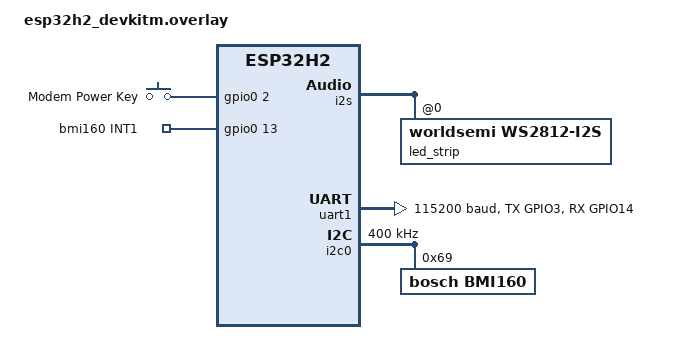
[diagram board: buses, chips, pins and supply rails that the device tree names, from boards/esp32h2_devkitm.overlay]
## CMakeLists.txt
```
cmake_minimum_required(VERSION 3.20.0)

find_package(Zephyr REQUIRED HINTS $ENV{ZEPHYR_BASE})

project(esp32_tracker)

target_sources(app PRIVATE src/main.c)
```

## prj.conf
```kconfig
CONFIG_GPIO=y
CONFIG_LOG=y
CONFIG_BT=n

CONFIG_LED_STRIP=y
CONFIG_I2S=y
CONFIG_DMA=y
CONFIG_WS2812_STRIP_I2S=y

CONFIG_SERIAL=y
CONFIG_UART_INTERRUPT_DRIVEN=y
CONFIG_CBPRINTF_FP_SUPPORT=y

CONFIG_I2C=y
CONFIG_SENSOR=y
CONFIG_BMI160=y

CONFIG_PM=y
CONFIG_PM_DEVICE=y
```

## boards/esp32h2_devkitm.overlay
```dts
#include <zephyr/dt-bindings/led/led.h>

/ {
	aliases {
		led-strip = &led_strip;
		modem-uart = &uart1;
		modem-pwr = &modem_pwr_key;
		wakeup-pin = &pin0;
	};

	gpio_keys {
		compatible = "gpio-keys";
		modem_pwr_key: modem_pwr_key {
			gpios = <&gpio0 2 GPIO_ACTIVE_HIGH>;
			label = "Modem Power Key";
		};
	};

	buttons {
		compatible = "gpio-keys";
		pin0: pin0 {
			gpios = <&gpio0 13 (GPIO_PULL_DOWN | GPIO_ACTIVE_HIGH)>;
			label = "bmi160 INT1";
		};
	};
};

// LED

&i2s_default {
	group1 {
		pinmux = <I2S_O_SD_GPIO8>;
	};
};

i2s_led: &i2s {
	status = "okay";

	dmas = <&dma 3>;
	dma-names = "tx";

	led_strip: ws2812@0 {
		compatible = "worldsemi,ws2812-i2s";

		reg = <0>;
		chain-length = <1>;
		color-mapping = <LED_COLOR_ID_GREEN
				 LED_COLOR_ID_RED
				 LED_COLOR_ID_BLUE>;
		reset-delay = <500>;
	};
};

&dma {
	status = "okay";
};

// SIM7070 UART

&pinctrl {
	uart1_modem_default: uart1_modem_default {
		group1 {
			pinmux = <UART1_TX_GPIO3>,
				     <UART1_RX_GPIO14>;
			output-high;
			input-enable;
		};
	};

    my_i2c0_custom: my_i2c0_custom {
        group1 {
            pinmux = <ESP32_PINMUX(5, ESP_I2CEXT0_SDA_IN, ESP_I2CEXT0_SDA_OUT)>,
	             <ESP32_PINMUX(4, ESP_I2CEXT0_SCL_IN, ESP_I2CEXT0_SCL_OUT)>;
        
            bias-pull-up;
            drive-open-drain;
            output-high;
        };
    };
};

&uart1 {
	status = "okay";
	current-speed = <115200>; // SIM7070 baud rate
	pinctrl-0 = <&uart1_modem_default>;
	pinctrl-names = "default";
};

&i2c0 {
    status = "okay";
    clock-frequency = <I2C_BITRATE_FAST>;

    pinctrl-0 = <&my_i2c0_custom>;
    pinctrl-names = "default";

    my_bmi160: bmi160@69 {
        compatible = "bosch,bmi160";
        reg = <0x69>;
        status = "okay";
        label = "BMI160";
    };
};
```

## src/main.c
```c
#include <math.h>
#include <stdint.h>
#include <stdio.h>
#include <stdlib.h>
#include <zephyr/kernel.h>
#include <zephyr/drivers/led_strip.h>
#include <zephyr/device.h>
#include <zephyr/logging/log.h>
#include <zephyr/drivers/gpio.h>
#include <zephyr/drivers/uart.h>
#include <zephyr/sys/timeutil.h>
#include <zephyr/sys/printk.h>
#include <zephyr/drivers/sensor.h>
#include <zephyr/drivers/i2c.h>
#include <string.h>
#include <esp_sleep.h>
#include <esp_timer.h>
#include <driver/gpio.h>
#include <zephyr/pm/policy.h>

LOG_MODULE_REGISTER(main, LOG_LEVEL_INF);

static const struct gpio_dt_spec wakeup_pin = GPIO_DT_SPEC_GET(DT_ALIAS(wakeup_pin), gpios);
#define WAKEUP_TIME_SEC     60

const struct gpio_dt_spec modem_pwr = GPIO_DT_SPEC_GET(DT_ALIAS(modem_pwr), gpios);
const struct device *modem_uart = DEVICE_DT_GET(DT_ALIAS(modem_uart));

#define BMI160_REG_INT_MAP_0  0x55
#define BMI160_REG_INT_OUT_CTRL  0x53

static const struct i2c_dt_spec dev_i2c = I2C_DT_SPEC_GET(DT_NODELABEL(my_bmi160));

#define RX_BUFFER_SIZE 256
static char rx_buf[RX_BUFFER_SIZE];
static int rx_pos = 0;

#define MODEM_RESPONSE_WAIT_MS  500
#define GPS_POLLING_WAIT_MS  5000
#define GPS_RESPONSE_WAIT_MS  500
#define GPS_POLLING_MAX_NODATE_MS  (60 * 1000)
#define GPS_POLLING_MAX_DATE_MS  (8 * 60 * 1000)

const char *at_command_list[] = {
		// Disable echo
    "ATE0",
    // Enable error messages
		"AT+CMEE=2",
    // Query SW version
    "AT+CGMR",
    "ATI",
};


const char *nbiot_command_list[] = {
    // --- NB-IoT setup
    // Set preferred mode to AUTOMATIC
    "AT+CNMP=2",
    // Enable CAT-M and NB-IoT scanning
    "AT+CMNB=3",
    // Set APN
    "AT+CGDCONT=1,\"IP\",\"iot\"", 
};

const char *connect_command_list[] = {
    // Check connection
    // "AT+CPSI?",
    // "AT+CREG?",  // 2G Registration
    // "AT+CGREG?", // LTE Registration
    // "AT+COPS?",  // ISP
    // "AT+CPSI?",  // System info
};

const char *http_command_list[] = {
		// --- HTTP setup
		// Configure SSL
		"AT+CSSLCFG=\"sslversion\",1,3",
		"AT+CSSLCFG=\"sni\",1,\"gps.dawidpietrykowski.com\"",
		"AT+CSSLCFG=\"ignorertctime\",1,1",
		"AT+SHSSL=1,\"\"",

		// Configure URL
		"AT+SHCONF=\"URL\",https://gps.dawidpietrykowski.com",
		"AT+SHCONF=\"HEADERLEN\",349",
		"AT+SHCONF=\"BODYLEN\",500",
};

void uart_cb(const struct device *dev, void *user_data)
{
	uint8_t c;

	if (!uart_irq_update(dev)) {
		return;
	}

	if (uart_irq_rx_ready(dev)) {
		while (uart_fifo_read(dev, &c, 1) == 1) {
			// printk("RECEIVED: %d\n", c);

			if (rx_pos < sizeof(rx_buf) - 1) {
				rx_buf[rx_pos++] = c;
				rx_buf[rx_pos] = '\0';
			}
		}
	}
}

void clear_buf()
{
	unsigned int key = irq_lock();
	rx_buf[0] = '\0';
	rx_pos=0;
  irq_unlock(key);
}

void send_at_cmd(const char *cmd)
{
	printk("\n\n>>> SENDING: %s\n", cmd);
	
	clear_buf();
	uart_poll_out(modem_uart, '\r');
	uart_poll_out(modem_uart, '\n');
	for (int i = 0; i < strlen(cmd); i++) {
		uart_poll_out(modem_uart, cmd[i]);
	}
	uart_poll_out(modem_uart, '\r');
	uart_poll_out(modem_uart, '\n');
}

int poll_at(uint32_t max_ms)
{
	char* search = "OK";
	uint32_t wait_time = 0;
	for(;;)
	{
		send_at_cmd("AT");
		k_msleep(200);
		if(strstr(rx_buf, search) != NULL)
			return 0;
		wait_time += 200;
		if(wait_time > max_ms) {
			return -1;
		}
	}
}

void poll_ready()
{
	char* search = "SMS Ready";
	for(;;)
	{
		k_msleep(100);
		if(strstr(rx_buf, search) != NULL)
			break;
	}
}

int poll_signal()
{
	char* search = "CSQ:";
	for(;;)
	{
		send_at_cmd("AT+CSQ");
		k_msleep(500);
		char* pos = strstr(rx_buf, search);
		if (pos == NULL) {
			continue;
		}
		// CSQ: xx,xx
		// 0123456789
		*(pos+7) = '\0';
		printk("\n\nreceived signal %s\n", pos);
		if(strstr(pos, "99") == NULL)
		{
			int signal = atoi(pos + 5);
			printk("\n\nfound signal %d\n", signal);
			return signal;
		}
	}
}

int poll_ip()
{
	char* search = "CNACT: 0,1,";
	for(;;)
	{
		send_at_cmd("AT+CNACT?");
		k_msleep(500);
		char* pos = strstr(rx_buf, search);
		char* next_ip_pos = strstr(rx_buf, "CNACT: 1,0");
		*(next_ip_pos - 1) = '\0';
		if (pos == NULL || next_ip_pos == NULL) {
			continue;
		}
		printk("\nreceived IP %s\n", pos + strlen(search));
		if(strstr(pos + strlen(search), "0.0.0.0") == NULL)
		{
			printk("\n\nreceived valid IP\n");
			return 0;
		}
	}
}

int poll_request(uint32_t max_ms)
{
	char* search = "SHREQ:";
	uint32_t wait_time = 0;
	for(;;)
	{
		k_msleep(100);
		printk("waiting for request finish\n");
		if(strstr(rx_buf, search) != NULL)
		{
			printk("\n\nfinished request\n");
			return 0;
		}
		wait_time += 100;
		if(wait_time > max_ms) {
			return -1;
		}
	}
}

int poll_ok(uint32_t max_ms)
{
	char* search = "OK";
	uint32_t wait_time = 0;
	for(;;)
	{
		k_msleep(100);
		if(strstr(rx_buf, search) != NULL)
			return 0;
		wait_time += 100;
		if(wait_time > max_ms) {
			return -1;
		}
	}
}

void poll_shbod()
{
	char* search = ">";
	for(;;)
	{
		printk("\n\nwaiting for shbod ok, buffer: \n");
		for (int i = 0; i <= rx_pos; i++) {
			printk("buf[%d] = %d\n", i, rx_buf[i]);
		}
		if(strstr(rx_buf, search) != NULL)
			break;
		k_msleep(500);
	}
}

typedef struct {
  double latitude;
  double longitude;
  double signal;
  double battery;
  uint64_t timestamp;
} frame;

int send_frame(frame frame_to_send) {
	char shbod[100];
	clear_buf();
	k_msleep(100);
	sprintf(shbod, "AT+SHBOD=%d,%d\r", (int)sizeof(frame), 1000);
	printk(">>> SENDING: %s\n", shbod);

	uart_poll_out(modem_uart, '\r');
	uart_poll_out(modem_uart, '\n');
	for (int i = 0; i < strlen(shbod); i++) {
		uart_poll_out(modem_uart, shbod[i]);
	}
	// TODO: fix rx_buf not receiving '>' character
	// poll_shbod();
	k_msleep(100);
	clear_buf();
	for (int i = 0; i < sizeof(frame_to_send); i++) {
		uart_poll_out(modem_uart, ((char*)&frame_to_send)[i]);
	}
	uart_poll_out(modem_uart, '\r');
	uart_poll_out(modem_uart, '\n');
	k_msleep(1000);

	send_at_cmd("AT+SHREQ=\"/pos\",3");
	if (poll_request(3000) != 0) {
		return -1;
	}

	return 0;
}

static char *at_token(char **str) {
    char *token_start;
    
    if (str == NULL || *str == NULL || **str == '\0') {
        return NULL;
    }

    token_start = *str;
    
    // first occurrence of the delimiter
    char *token_end = strpbrk(token_start, ",");

    if (token_end) {
        *token_end = '\0';
        *str = token_end + 1;
    } else {
        // no delimiters, point to end
        *str = token_start + strlen(token_start);
    }

    return token_start;
}

int64_t gps_date_to_epoch_ms(const char *ts_str)
{
    struct tm tm_data = { 0 };
    char temp_buf[5];
    int ms = 0;

    if (strlen(ts_str) < 18) {
        printk("Error: Timestamp string too short\n");
        return -1;
    }

    // year
    memcpy(temp_buf, &ts_str[0], 4);
    temp_buf[4] = '\0';
    tm_data.tm_year = atoi(temp_buf) - 1900; 

    // month
    memcpy(temp_buf, &ts_str[4], 2);
    temp_buf[2] = '\0';
    tm_data.tm_mon = atoi(temp_buf) - 1; 

    // day
    memcpy(temp_buf, &ts_str[6], 2);
    temp_buf[2] = '\0';
    tm_data.tm_mday = atoi(temp_buf);

    // hour
    memcpy(temp_buf, &ts_str[8], 2);
    temp_buf[2] = '\0';
    tm_data.tm_hour = atoi(temp_buf);

    // minute
    memcpy(temp_buf, &ts_str[10], 2);
    temp_buf[2] = '\0';
    tm_data.tm_min = atoi(temp_buf);

    // second
    memcpy(temp_buf, &ts_str[12], 2);
    temp_buf[2] = '\0';
    tm_data.tm_sec = atoi(temp_buf);

    // millisecond
    memcpy(temp_buf, &ts_str[15], 3);
    temp_buf[3] = '\0';
    ms = atoi(temp_buf);

    time_t seconds_epoch = timeutil_timegm(&tm_data);

    if (seconds_epoch == -1) {
        printk("Error: Failed to convert time to epoch seconds\n");
        return -1;
    }

    int64_t total_ms = ((int64_t)seconds_epoch * 1000) + ms;

    return total_ms;
}

int get_gps_data(frame *data)
{
  // Enable GPS
	send_at_cmd("AT+CGNSPWR=1");
	char* search = "+CGNSINF: ";
	uint32_t polling_time = 0;
	bool date_received = false;
  data->timestamp = 0;

	for(;;) {
		send_at_cmd("AT+CGNSINF");
		k_msleep(GPS_RESPONSE_WAIT_MS);
		char* pos = strstr(rx_buf, search);
		if(pos != NULL)
		{
			pos += strlen(search);

      int fix_status = 0;
		  char *token;
		  int index = 0;
	    char utc_datetime[32]; // yyyyMMddhhmmss.sss
		  int run_status;

	    while ((token = at_token(&pos)) != NULL) {
	        switch (index) {
	            case 0: // GNSS Run Status
	                run_status = atoi(token);
	                printk("run: %d\n", run_status);
	                break;
	            case 1: // Fix Status
	                if (*token != '\0') fix_status = atoi(token);
	                else fix_status = 0;
	                printk("fix: %d\n", fix_status);
	                break;
	            case 2: // UTC Date & Time
	                if (*token != '\0') {
	                    strncpy(utc_datetime, token, sizeof(utc_datetime) - 1);
											data->timestamp = (uint64_t)gps_date_to_epoch_ms(utc_datetime);
			                printk("date: %s, ms: %lld\n", utc_datetime, data->timestamp);
											date_received = true;
	                }
	                break;
	            case 3: // Latitude
	                if (*token != '\0') {
	                	data->latitude = strtod(token, NULL);
		                printk("latitude: %f\n", data->latitude);
	                }
	                break;
	            case 4: // Longitude
	                if (*token != '\0') {
	                	data->longitude = strtod(token, NULL);
		                printk("longitude: %f\n", data->longitude);
	                }
	                break;
	            case 5: // Altitude
	                if (*token != '\0') {
	                	double altitude = strtod(token, NULL);
		                printk("altitude: %f\n", altitude);
	                }
	                break;
	            default:
	                break;
	        }
	        index++;
	    }
      if (fix_status) {
			  printk("Found GPS position\n");
				send_at_cmd("AT+CGNSPWR=0"); 
				poll_ok(5000);
      	return 0;
      }
		}
		if ((!date_received && (polling_time >= GPS_POLLING_MAX_NODATE_MS))
		    || (date_received && (polling_time >= GPS_POLLING_MAX_DATE_MS))) {
		  printk("Failed to get GPS: timeout\n");
		  data->latitude = NAN;
		  data->longitude = NAN;
			send_at_cmd("AT+CGNSPWR=0"); 
			poll_ok(5000);
		  return -1;
		}
		k_msleep(GPS_POLLING_WAIT_MS);
    polling_time += GPS_POLLING_WAIT_MS + GPS_RESPONSE_WAIT_MS;
	}
}

int configure_bmi160_interrupts()
{
  printk("Initializing BMI160\n");
  const struct device *const bmi160 = DEVICE_DT_GET_ANY(bosch_bmi160);

  if (!device_is_ready(bmi160)) {
      printk("BMI160 is not ready\n");
      return -1;
  }

  if (!i2c_is_ready_dt(&dev_i2c)) {
      printk("I2C bus not ready\n");
      return -1;
  }

  // Enable single-tap interrupt
  if (i2c_reg_write_byte_dt(&dev_i2c, BMI160_REG_INT_MAP_0, 0x20) != 0) {
      printk("Failed to write INT_MAP_0\n");
      return -1;
  }
  // Configure INT1 output
  if (i2c_reg_write_byte_dt(&dev_i2c, 0x53, 0xA) != 0) {
      printk("Failed to write INT_OUT_CTRL\n");
      return -1;
  }
  // Enable interrupt
  if (i2c_reg_write_byte_dt(&dev_i2c, 0x50, 0x30) != 0) {
      printk("Failed to write INT_OUT_CTRL\n");
      return -1;
  }

  printk("Configured BMI160\n");
  return 0;
}

int power_on_sim7070g()
{
  int ret;

  if (!gpio_is_ready_dt(&modem_pwr)) {
      printk("Error: Modem GPIO not ready\n");
      return -1;
  }

  ret = gpio_pin_configure_dt(&modem_pwr, GPIO_OUTPUT_INACTIVE);
  if (ret < 0) {
      printk("Error: Failed to set modem GPIO\n");
      return ret;
  }

  // Set pin HIGH
  gpio_pin_set_dt(&modem_pwr, 1);
  
  k_sleep(K_SECONDS(1)); 
  
  // Set pin LOW
  gpio_pin_set_dt(&modem_pwr, 0);

  k_sleep(K_SECONDS(1));

	if (poll_at(10000) != 0) {
	  printk("Error: AT poll timeout\n");
		send_at_cmd("AT+CPOWD=1");
		return -1;
	}
  printk("Triggered PWR on SIM7070G\n");

  return 0;
}

int collect_send_gps_data()
{
	printk("Initializing SIM7070G UART\n");
	// Initialize UART
	if (!device_is_ready(modem_uart)) return -1;

	k_sleep(K_MSEC(100));

	uart_irq_callback_user_data_set(modem_uart, uart_cb, NULL);
	uart_irq_rx_enable(modem_uart);
  printk("Initialized SIM7070G UART\n");

	// Trigger PWR
	if (power_on_sim7070g()) return -1;

	frame frame_to_send;
	frame_to_send.battery = 0.0; // TODO: ADC for battery level
	frame_to_send.latitude = 0.0;
	frame_to_send.longitude = 0.0;

	// Configure
	int cmd_count = sizeof(at_command_list) / sizeof(at_command_list[0]);
	for (int i = 0; i < cmd_count; i++) {
		send_at_cmd(at_command_list[i]);
		k_msleep(MODEM_RESPONSE_WAIT_MS);
	}

	// Try get GPS data
	if (get_gps_data(&frame_to_send) != 0) {
	  printk("Failed to get GPS data: sending NAN\n");
	}

	// Reset module completely
	send_at_cmd("AT+CPOWD=1");
  poll_ok(5000);
  k_sleep(K_SECONDS(3));
	if (power_on_sim7070g()) return -1;

	// Enable LTE radio
  send_at_cmd("AT+CFUN=1");
  poll_ok(5000);
  k_sleep(K_SECONDS(3));
	cmd_count = sizeof(nbiot_command_list) / sizeof(nbiot_command_list[0]);
	for (int i = 0; i < cmd_count; i++) {
		send_at_cmd(nbiot_command_list[i]);
		k_msleep(1000);
	}

	// Check signal
	int signal = poll_signal();
	frame_to_send.signal = (double)signal / 99.0;

	// Connect
	send_at_cmd("AT+CNACT=0,1"); // Activate PDP
	if (poll_ok(5000) != 0) {
		send_at_cmd("AT+CPOWD=1");
		return -1;
	}

	// Wait for IP
	poll_ip();
	k_msleep(1000);

	// Configure HTTP
	cmd_count = sizeof(http_command_list) / sizeof(http_command_list[0]);
	for (int i = 0; i < cmd_count; i++) {
		send_at_cmd(http_command_list[i]);
		k_msleep(1000);
	}

	// Send request
	send_at_cmd("AT+SHCONN");
	if (poll_ok(15000) != 0) {
	  printk("Error: Connection failed\n");
		// Disable module
		send_at_cmd("AT+CPOWD=1");
		return -1;
	};
	if (send_frame(frame_to_send) != 0) {
	  printk("Error: Request failed\n");
		// Disable module
		send_at_cmd("AT+CPOWD=1");
		return -1;
	}
	send_at_cmd("AT+SHDISC");
	poll_ok(3000);

	// Disable module
	send_at_cmd("AT+CPOWD=1");

	return 0;
}

int print_wakeup_reason()
{
	esp_sleep_wakeup_cause_t cause = esp_sleep_get_wakeup_cause();
	switch (cause) {
		case ESP_SLEEP_WAKEUP_TIMER:
			printk("Wakeup cause: TIMER\n");
			break;
		case ESP_SLEEP_WAKEUP_EXT1:
			printk("Wakeup cause: BMI160 movement\n");
			break;
		case ESP_SLEEP_WAKEUP_UNDEFINED:
		default:
			printk("Wakeup cause: COLD BOOT\n");
			break;
	}

	return 0;
}

int enable_timer_bmi160_wakeup()
{
	printk("Enabling timer wakeup\n");
	uint64_t sleep_time_us = WAKEUP_TIME_SEC * 1000000ULL;
	esp_sleep_enable_timer_wakeup(sleep_time_us);
	printk("Timer set for %d seconds.\n", WAKEUP_TIME_SEC);

	// Enable wakeup on bmi160 pin
	printk("Enabling EXT1 wakeup\n");
	if (!gpio_is_ready_dt(&wakeup_pin)) {
		printk("Error: button device %s is not ready\n", wakeup_pin.port->name);
		return -1;
	}
	int ret = gpio_pin_configure_dt(&wakeup_pin, GPIO_INPUT);
	if (ret != 0) {
		printk("Error %d: failed to configure %s pin %d\n", ret, wakeup_pin.port->name, wakeup_pin.pin);
		return -1;
	}

	// Enable EXT1 wakeup from deep sleep
	gpio_pin_interrupt_configure_dt(&wakeup_pin, GPIO_INT_DISABLE);
	esp_sleep_enable_ext1_wakeup(BIT(wakeup_pin.pin), ESP_EXT1_WAKEUP_ANY_HIGH);
	gpio_pin_interrupt_configure_dt(&wakeup_pin, GPIO_INT_ENABLE);

	return 0;
}

int main(void)
{
	pm_policy_state_lock_get(PM_STATE_STANDBY, PM_ALL_SUBSTATES);
	pm_policy_state_lock_get(PM_STATE_SUSPEND_TO_RAM, PM_ALL_SUBSTATES);

	print_wakeup_reason();

	printk("Sending GPS data\n");
	collect_send_gps_data();

	// Configure BMI160 to send interrupts on movement
  if(configure_bmi160_interrupts() != 0) return 0;
	// Enable timer wakeup
  if(enable_timer_bmi160_wakeup() != 0) return 0;
	// Enter Deep Sleep
	printk("Entering Deep Sleep\n");
	k_sleep(K_MSEC(100)); 
	esp_deep_sleep_start();

	return 0;
}
```
